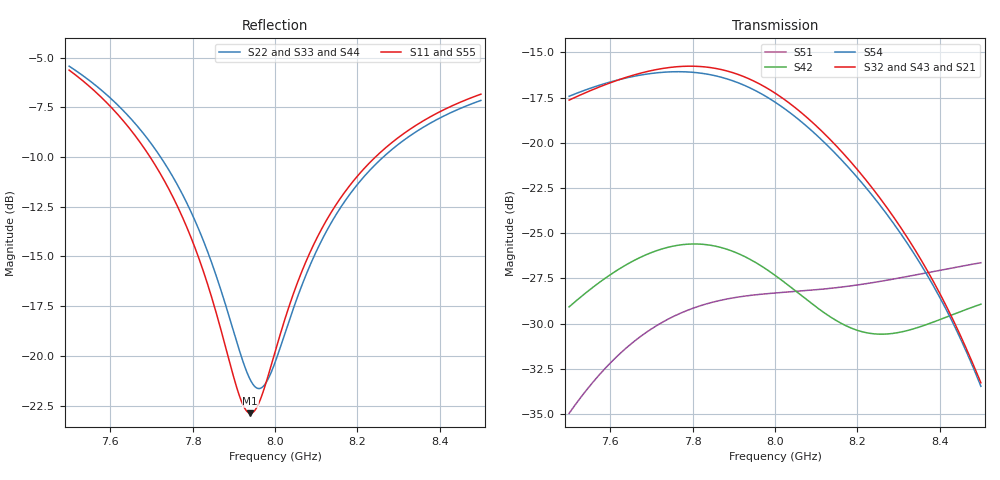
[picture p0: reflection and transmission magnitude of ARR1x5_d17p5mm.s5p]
! Touchstone file exported from HFSS 2025.1.0
!  File:  C:/Users/user/Documents/Ansoft/TFG_UWB-MIMO-Array.aedt
!  Generated:  06:37:35 PM Nov 20, 2026
!  Design:  ARR1x5_P01_MS2_dparam
!  Project:  TFG_UWB-MIMO-Array
!  Setup:  Setup_ch9
!  Solution:  Sweep_7p5_8p5
! Variables:
!  arr_d = 17.5mm
!  board_m = 13mm
!  board_x = 96mm
!  board_y = 26mm
!  cu_t = 0.035mm
!  line_w = 3.92mm
!  pad_xy = 22mm
!  pad_zn = 25mm
!  pad_zp = 33mm
!  patch_L = 7.322mm
!  patch_W = 11.421266mm
!  sub_h = 2.07mm
!  tr_l = 7.1mm
!  tr_w = 0.8mm
# GHz S MA R 50.000000
! Terminal data exported
! Port[1] = P1
! Port[2] = P2
! Port[3] = P3
! Port[4] = P4
! Port[5] = P5
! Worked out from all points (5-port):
!   1001 points, 7.5 GHz to 8.5 GHz, reference 50 ohm
!   strongest paths, dB at 7.5 GHz, 7.75 GHz, 8 GHz, 8.25 GHz, 8.5 GHz:
!     S32: -17.6, -15.8, -17.2, -22.9, -33.3
!     S43: -17.7, -15.8, -17.3, -22.9, -33.0
!     S21: -17.4, -16.0, -17.6, -23.1, -32.8
!     S54: -17.4, -16.1, -17.7, -23.3, -33.5
!     S42: -29.1, -25.7, -27.3, -30.6, -28.9
!     S51: -35.0, -29.6, -28.3, -27.7, -26.6
!   lowest |S11| = -22.9 dB at 7.94 GHz (marker M1), VSWR 1.15, Z = 57.1 + j2.93 ohm
!   |S11| at or under -10 dB: 7.697 GHz to 8.244 GHz (547.4 MHz wide, 6.87 % of centre)
